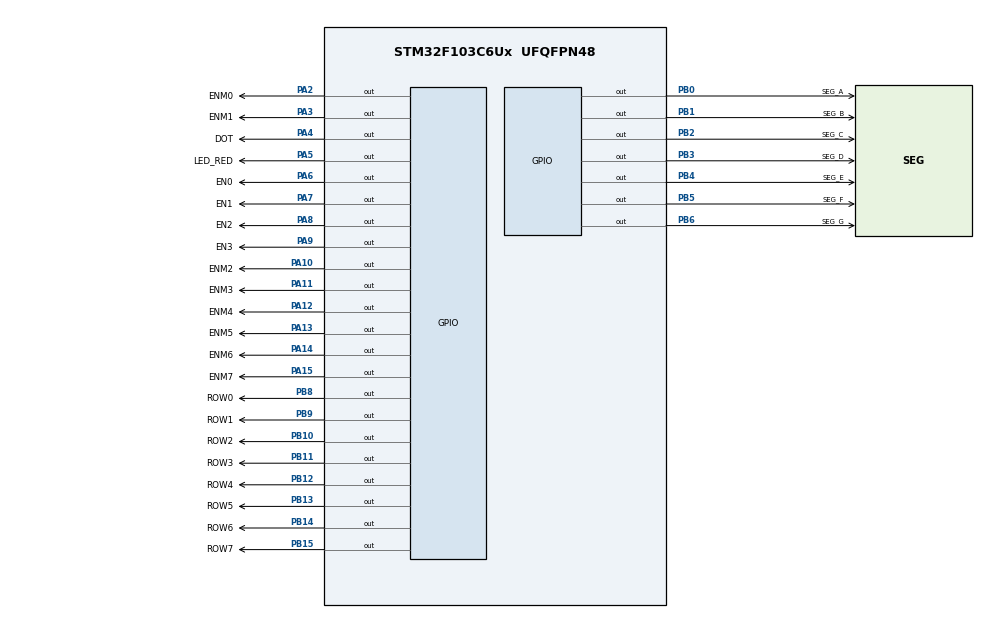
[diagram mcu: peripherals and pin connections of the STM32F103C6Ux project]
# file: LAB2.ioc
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Mcu.Family=STM32F1
Mcu.Name=STM32F103C6Ux
Mcu.Package=UFQFPN48
NVIC.PriorityGroup=NVIC_PRIORITYGROUP_4
NVIC.TIM2_IRQn=true\:0\:0\:false\:false\:true\:true\:true
PA10.GPIO_Label=ENM2
PA10.Signal=GPIO_Output
PA11.GPIO_Label=ENM3
PA11.Signal=GPIO_Output
PA12.GPIO_Label=ENM4
PA12.Signal=GPIO_Output
PA13.GPIO_Label=ENM5
PA13.Signal=GPIO_Output
PA14.GPIO_Label=ENM6
PA14.Signal=GPIO_Output
PA15.GPIO_Label=ENM7
PA15.Signal=GPIO_Output
PA2.GPIO_Label=ENM0
PA2.Signal=GPIO_Output
PA3.GPIO_Label=ENM1
PA3.Signal=GPIO_Output
PA4.GPIO_Label=DOT
PA4.Signal=GPIO_Output
PA5.GPIO_Label=LED_RED
PA5.Signal=GPIO_Output
PA6.GPIO_Label=EN0
PA6.Signal=GPIO_Output
PA7.GPIO_Label=EN1
PA7.Signal=GPIO_Output
PA8.GPIO_Label=EN2
PA8.Signal=GPIO_Output
PA9.GPIO_Label=EN3
PA9.Signal=GPIO_Output
PB0.GPIO_Label=SEG_A
PB0.Signal=GPIO_Output
PB1.GPIO_Label=SEG_B
PB1.Signal=GPIO_Output
PB10.GPIO_Label=ROW2
PB10.Signal=GPIO_Output
PB11.GPIO_Label=ROW3
PB11.Signal=GPIO_Output
PB12.GPIO_Label=ROW4
PB12.Signal=GPIO_Output
PB13.GPIO_Label=ROW5
PB13.Signal=GPIO_Output
PB14.GPIO_Label=ROW6
PB14.Signal=GPIO_Output
PB15.GPIO_Label=ROW7
PB15.Signal=GPIO_Output
PB2.GPIO_Label=SEG_C
PB2.Signal=GPIO_Output
PB3.GPIO_Label=SEG_D
PB3.Signal=GPIO_Output
PB4.GPIO_Label=SEG_E
PB4.Signal=GPIO_Output
PB5.GPIO_Label=SEG_F
PB5.Signal=GPIO_Output
PB6.GPIO_Label=SEG_G
PB6.Signal=GPIO_Output
PB8.GPIO_Label=ROW0
PB8.Signal=GPIO_Output
PB9.GPIO_Label=ROW1
PB9.Signal=GPIO_Output
ProjectManager.HeapSize=0x200
ProjectManager.StackSize=0x400
ProjectManager.TargetToolchain=STM32CubeIDE
RCC.APB1Freq_Value=8000000
RCC.APB2Freq_Value=8000000
TIM2.Period=9
TIM2.Prescaler=7999
VP_SYS_VS_ND.Mode=No_Debug
VP_TIM2_VS_ClockSourceINT.Mode=Internal
board=custom

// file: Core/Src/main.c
/* USER CODE BEGIN Header */
/**
  ******************************************************************************
  * @file           : main.c
  * @brief          : Main program body
  ******************************************************************************
  * @attention
  *
  * <h2><center>&copy; Copyright (c) 2023 STMicroelectronics.
  * All rights reserved.</center></h2>
  *
  * This software component is licensed by ST under BSD 3-Clause license,
  * the "License"; You may not use this file except in compliance with the
  * License. You may obtain a copy of the License at:
  *                        opensource.org/licenses/BSD-3-Clause
  *
  ******************************************************************************
  */
/* USER CODE END Header */
#include "main.h"

/* USER CODE BEGIN Includes */
#include "software_timer.h"
#include <stdlib.h>
/* USER CODE END Includes */

TIM_HandleTypeDef htim2;

void SystemClock_Config(void);
static void MX_GPIO_Init(void);
static void MX_TIM2_Init(void);
/* USER CODE BEGIN PFP */

uint8_t matrix_buffer[8] = {0x18,0x24,0x42,0x42,0x7E,0x42,0x42,0x42};
uint8_t stored_buffer[8] = {0x18,0x24,0x42,0x42,0x7E,0x42,0x42,0x42};
const int MAX_LED_MATRIX = 8;

const int MAX_LED = 4;
int index_led = 0;
int led_buffer[4] = {0, 0, 0, 0};
void update_clock_buffer(int hour, int minute);
void init_clock();
void display7SEG(int number);
void update_display(int* display_flag);
void reset_all_row();
void display_row(uint8_t data);
void updateLEDMatrix(int* index, uint8_t* matrix_buffer);
void update_LED_buffer(uint8_t data[MAX_LED_MATRIX]);
void reset_buffer();

/* USER CODE END PFP */

int main(void)
{

  /* MCU Configuration--------------------------------------------------------*/

  /* Reset of all peripherals, Initializes the Flash interface and the Systick. */
  HAL_Init();

  /* Configure the system clock */
  SystemClock_Config();

  /* Initialize all configured peripherals */
  MX_GPIO_Init();
  MX_TIM2_Init();
  /* USER CODE BEGIN 2 */
  HAL_TIM_Base_Start_IT (& htim2 );
  set_Timer1(50);//counter for 7-segment LED
  set_Timer2(100);//counter for 2 LEDs
  set_Timer3(450);//counter for shilf led
  int display_flag = 0;//indicate for the first 7LED (number 1)
  int matrix_flag = 0;
  int shift_cycle_flag = 0;
  int hour = 23, minute = 59, second = 50;
    led_buffer[0] = hour/10;
    led_buffer[1] = hour%10;
    led_buffer[2] = minute/10;
    led_buffer[3] = minute%10;
    init_clock();

  /* USER CODE END 2 */

  /* Infinite loop */
  while (1)
  {

    /* USER CODE BEGIN 3 */
	  //HAL_GPIO_WritePin(GPIOA, ENM1_Pin, GPIO_PIN_RESET);
	  //HAL_GPIO_WritePin(GPIOB, ROW0_Pin|ROW1_Pin, GPIO_PIN_RESET);
	  if(timer_flag1 == 1){
		  set_Timer1(50);
	 	  update_display(&display_flag);
	 	  updateLEDMatrix(&matrix_flag, matrix_buffer);
	  }
	  if(timer_flag2 == 1){
	 	  set_Timer2(100);
	 	  HAL_GPIO_TogglePin(GPIOA, DOT_Pin);
	 	  HAL_GPIO_TogglePin(GPIOA, LED_RED_Pin);
	 	 second++;
	 	 		  if(second>=60){
	 	 			  second = 0;
	 	 			  minute++;
	 	 		  }
	 	 		  if(minute>=60){
	 	 			  minute = 0;
	 	 			  hour++;
	 	 		  }
	 	 		  if(hour>=24){
	 	 			  hour = 0;
	 	 		  }
	 	 		  update_clock_buffer(hour, minute);
	   }
	  if(timer_flag3 == 1){
		  set_Timer3(450);
		  shift_cycle_flag++;
		  update_LED_buffer(matrix_buffer);
		  if(shift_cycle_flag >= 8){
			  shift_cycle_flag = 0;
			  reset_buffer();
		  }
	  }
  }
  /* USER CODE END 3 */
}

void SystemClock_Config(void)
{
  RCC_OscInitTypeDef RCC_OscInitStruct = {0};
  RCC_ClkInitTypeDef RCC_ClkInitStruct = {0};

  /** Initializes the RCC Oscillators according to the specified parameters
  * in the RCC_OscInitTypeDef structure.
  */
  RCC_OscInitStruct.OscillatorType = RCC_OSCILLATORTYPE_HSI;
  RCC_OscInitStruct.HSIState = RCC_HSI_ON;
  RCC_OscInitStruct.HSICalibrationValue = RCC_HSICALIBRATION_DEFAULT;
  RCC_OscInitStruct.PLL.PLLState = RCC_PLL_NONE;
  if (HAL_RCC_OscConfig(&RCC_OscInitStruct) != HAL_OK)
  {
    Error_Handler();
  }
  /** Initializes the CPU, AHB and APB buses clocks
  */
  RCC_ClkInitStruct.ClockType = RCC_CLOCKTYPE_HCLK|RCC_CLOCKTYPE_SYSCLK
                              |RCC_CLOCKTYPE_PCLK1|RCC_CLOCKTYPE_PCLK2;
  RCC_ClkInitStruct.SYSCLKSource = RCC_SYSCLKSOURCE_HSI;
  RCC_ClkInitStruct.AHBCLKDivider = RCC_SYSCLK_DIV1;
  RCC_ClkInitStruct.APB1CLKDivider = RCC_HCLK_DIV1;
  RCC_ClkInitStruct.APB2CLKDivider = RCC_HCLK_DIV1;

  if (HAL_RCC_ClockConfig(&RCC_ClkInitStruct, FLASH_LATENCY_0) != HAL_OK)
  {
    Error_Handler();
  }
}

static void MX_TIM2_Init(void)
{

  TIM_ClockConfigTypeDef sClockSourceConfig = {0};
  TIM_MasterConfigTypeDef sMasterConfig = {0};

  htim2.Instance = TIM2;
  htim2.Init.Prescaler = 7999;
  htim2.Init.CounterMode = TIM_COUNTERMODE_UP;
  htim2.Init.Period = 9;
  htim2.Init.ClockDivision = TIM_CLOCKDIVISION_DIV1;
  htim2.Init.AutoReloadPreload = TIM_AUTORELOAD_PRELOAD_DISABLE;
  if (HAL_TIM_Base_Init(&htim2) != HAL_OK)
  {
    Error_Handler();
  }
  sClockSourceConfig.ClockSource = TIM_CLOCKSOURCE_INTERNAL;
  if (HAL_TIM_ConfigClockSource(&htim2, &sClockSourceConfig) != HAL_OK)
  {
    Error_Handler();
  }
  sMasterConfig.MasterOutputTrigger = TIM_TRGO_RESET;
  sMasterConfig.MasterSlaveMode = TIM_MASTERSLAVEMODE_DISABLE;
  if (HAL_TIMEx_MasterConfigSynchronization(&htim2, &sMasterConfig) != HAL_OK)
  {
    Error_Handler();
  }

}

static void MX_GPIO_Init(void)
{
  GPIO_InitTypeDef GPIO_InitStruct = {0};

  /* GPIO Ports Clock Enable */
  __HAL_RCC_GPIOA_CLK_ENABLE();
  __HAL_RCC_GPIOB_CLK_ENABLE();

  /*Configure GPIO pin Output Level */
  HAL_GPIO_WritePin(GPIOA, ENM0_Pin|ENM1_Pin|DOT_Pin|LED_RED_Pin
                          |EN0_Pin|EN1_Pin|EN2_Pin|EN3_Pin
                          |ENM2_Pin|ENM3_Pin|ENM4_Pin|ENM5_Pin
                          |ENM6_Pin|ENM7_Pin, GPIO_PIN_SET);

  /*Configure GPIO pin Output Level */
  HAL_GPIO_WritePin(GPIOB, SEG_A_Pin|SEG_B_Pin|SEG_C_Pin|ROW2_Pin
                          |ROW3_Pin|ROW4_Pin|ROW5_Pin|ROW6_Pin
                          |ROW7_Pin|SEG_D_Pin|SEG_E_Pin|SEG_F_Pin
                          |SEG_G_Pin|ROW0_Pin|ROW1_Pin, GPIO_PIN_SET);

  /*Configure GPIO pins : ENM0_Pin ENM1_Pin DOT_Pin LED_RED_Pin
                           EN0_Pin EN1_Pin EN2_Pin EN3_Pin
                           ENM2_Pin ENM3_Pin ENM4_Pin ENM5_Pin
                           ENM6_Pin ENM7_Pin */
  GPIO_InitStruct.Pin = ENM0_Pin|ENM1_Pin|DOT_Pin|LED_RED_Pin
                          |EN0_Pin|EN1_Pin|EN2_Pin|EN3_Pin
                          |ENM2_Pin|ENM3_Pin|ENM4_Pin|ENM5_Pin
                          |ENM6_Pin|ENM7_Pin;
  GPIO_InitStruct.Mode = GPIO_MODE_OUTPUT_PP;
  GPIO_InitStruct.Pull = GPIO_NOPULL;
  GPIO_InitStruct.Speed = GPIO_SPEED_FREQ_LOW;
  HAL_GPIO_Init(GPIOA, &GPIO_InitStruct);

  /*Configure GPIO pins : SEG_A_Pin SEG_B_Pin SEG_C_Pin ROW2_Pin
                           ROW3_Pin ROW4_Pin ROW5_Pin ROW6_Pin
                           ROW7_Pin SEG_D_Pin SEG_E_Pin SEG_F_Pin
                           SEG_G_Pin ROW0_Pin ROW1_Pin */
  GPIO_InitStruct.Pin = SEG_A_Pin|SEG_B_Pin|SEG_C_Pin|ROW2_Pin
                          |ROW3_Pin|ROW4_Pin|ROW5_Pin|ROW6_Pin
                          |ROW7_Pin|SEG_D_Pin|SEG_E_Pin|SEG_F_Pin
                          |SEG_G_Pin|ROW0_Pin|ROW1_Pin;
  GPIO_InitStruct.Mode = GPIO_MODE_OUTPUT_PP;
  GPIO_InitStruct.Pull = GPIO_NOPULL;
  GPIO_InitStruct.Speed = GPIO_SPEED_FREQ_LOW;
  HAL_GPIO_Init(GPIOB, &GPIO_InitStruct);

}

/* USER CODE BEGIN 4 */
void HAL_TIM_PeriodElapsedCallback(TIM_HandleTypeDef *htim){
	timerRun();
}

void display7SEG(int number){
	int a[10][7] = {
		{0, 0, 0, 0, 0, 0, 1}, 	//0
		{1, 0, 0, 1, 1, 1, 1},  //1
		{0, 0, 1, 0, 0, 1, 0},  //2
		{0, 0, 0, 0, 1, 1, 0},  //3
		{1, 0, 0, 1, 1, 0, 0},	//4
		{0, 1, 0, 0, 1, 0, 0},  //5
		{0, 1, 0, 0, 0, 0, 0}, 	//6
		{0, 0, 0, 1, 1, 1, 1},	//7
		{0, 0, 0, 0, 0, 0, 0}, 	//8
		{0, 0, 0, 0, 1, 0, 0}   //9
	};
	HAL_GPIO_WritePin(GPIOB, SEG_A_Pin, a[number][0]);
	HAL_GPIO_WritePin(GPIOB, SEG_B_Pin, a[number][1]);
	HAL_GPIO_WritePin(GPIOB, SEG_C_Pin, a[number][2]);
	HAL_GPIO_WritePin(GPIOB, SEG_D_Pin, a[number][3]);
	HAL_GPIO_WritePin(GPIOB, SEG_E_Pin, a[number][4]);
	HAL_GPIO_WritePin(GPIOB, SEG_F_Pin, a[number][5]);
	HAL_GPIO_WritePin(GPIOB, SEG_G_Pin, a[number][6]);

}

void update_display(int* display_flag){
	switch (*display_flag){
		case 0:{
			(*display_flag)++;
			HAL_GPIO_WritePin(GPIOA, EN0_Pin, GPIO_PIN_SET);
			HAL_GPIO_WritePin(GPIOA, EN1_Pin, GPIO_PIN_RESET);
			HAL_GPIO_WritePin(GPIOA, EN2_Pin, GPIO_PIN_SET);
			HAL_GPIO_WritePin(GPIOA, EN3_Pin, GPIO_PIN_SET);
			display7SEG(led_buffer[1]);
			break;
		}
		case 1:{
			(*display_flag)++;
			HAL_GPIO_WritePin(GPIOA, EN0_Pin, GPIO_PIN_SET);
			HAL_GPIO_WritePin(GPIOA, EN1_Pin, GPIO_PIN_SET);
			HAL_GPIO_WritePin(GPIOA, EN2_Pin, GPIO_PIN_RESET);
			HAL_GPIO_WritePin(GPIOA, EN3_Pin, GPIO_PIN_SET);
			display7SEG(led_buffer[2]);
			break;
		}
		case 2:{
			(*display_flag)++;
			HAL_GPIO_WritePin(GPIOA, EN0_Pin, GPIO_PIN_SET);
			HAL_GPIO_WritePin(GPIOA, EN1_Pin, GPIO_PIN_SET);
			HAL_GPIO_WritePin(GPIOA, EN2_Pin, GPIO_PIN_SET);
			HAL_GPIO_WritePin(GPIOA, EN3_Pin, GPIO_PIN_RESET);
			display7SEG(led_buffer[3]);
			break;
		}
		case 3:{
			(*display_flag) = 0;
			HAL_GPIO_WritePin(GPIOA, EN0_Pin, GPIO_PIN_RESET);
			HAL_GPIO_WritePin(GPIOA, EN1_Pin, GPIO_PIN_SET);
			HAL_GPIO_WritePin(GPIOA, EN2_Pin, GPIO_PIN_SET);
			HAL_GPIO_WritePin(GPIOA, EN3_Pin, GPIO_PIN_SET);
			display7SEG(led_buffer[0]);
			break;
		}
		default:{
			break;
		}
	}
}

uint16_t col_trigger[] = {ENM0_Pin, ENM1_Pin, ENM2_Pin, ENM3_Pin, ENM4_Pin, ENM5_Pin, ENM6_Pin, ENM7_Pin};
uint16_t row_trigger[] = {ROW0_Pin, ROW1_Pin, ROW2_Pin, ROW3_Pin, ROW4_Pin, ROW5_Pin, ROW6_Pin, ROW7_Pin};

int index_led_matrix = 0;

void updateLEDMatrix(int* matrix_flag, uint8_t* matrix_buffer){
    switch (*matrix_flag){
        case 0:{
        	(*matrix_flag)++;
        	reset_all_row();
        	HAL_GPIO_WritePin(GPIOB, ROW0_Pin, 0);
        	display_row(matrix_buffer[0]);
        	break;
        }
        case 1:{
        	(*matrix_flag)++;
        	reset_all_row();
        	HAL_GPIO_WritePin(GPIOB, ROW1_Pin, 0);
        	display_row(matrix_buffer[1]);
        	break;
        }
        case 2:{
        	(*matrix_flag)++;
        	reset_all_row();
        	HAL_GPIO_WritePin(GPIOB, ROW2_Pin, 0);
        	display_row(matrix_buffer[2]);
        	break;
        }
        case 3:{
        	(*matrix_flag)++;
        	reset_all_row();
        	HAL_GPIO_WritePin(GPIOB, ROW3_Pin, 0);
        	display_row(matrix_buffer[3]);
        	break;
        }
        case 4:{
        	(*matrix_flag)++;
        	reset_all_row();
        	HAL_GPIO_WritePin(GPIOB, ROW4_Pin, 0);
        	display_row(matrix_buffer[4]);
        	break;
        }
        case 5:{
        	(*matrix_flag)++;
        	reset_all_row();
        	HAL_GPIO_WritePin(GPIOB, ROW5_Pin, 0);
        	display_row(matrix_buffer[5]);
        	break;
        }
        case 6:{
        	(*matrix_flag)++;
        	reset_all_row();
        	HAL_GPIO_WritePin(GPIOB, ROW6_Pin, 0);
        	display_row(matrix_buffer[6]);
        	break;
        }
        case 7:{
        	(*matrix_flag) = 0;
        	reset_all_row();
        	HAL_GPIO_WritePin(GPIOB, ROW7_Pin, 0);
        	display_row(matrix_buffer[7]);
        	break;
        }
        default:
            break;
    }
}

void display_row(uint8_t data){
	for(int i = 0; i<MAX_LED_MATRIX; i++){
		HAL_GPIO_WritePin(GPIOA, col_trigger[i], !(data&0x80));
		data = data<<1;
	}
}

void set_row(){
	HAL_GPIO_WritePin(GPIOB, row_trigger[0], GPIO_PIN_RESET);
	for(int i = 0; i<MAX_LED_MATRIX; i++){
			HAL_GPIO_WritePin(GPIOA, col_trigger[i], GPIO_PIN_SET);
	}

}
void reset_all_row(){
	for(int i = 0; i<MAX_LED_MATRIX; i++){
		HAL_GPIO_WritePin(GPIOB, row_trigger[i], GPIO_PIN_SET);
	}
}

void update_LED_buffer(uint8_t data[MAX_LED_MATRIX]){
	for(int i = 0; i<MAX_LED_MATRIX; i++){
		data[i] = data[i]<<1;
	}
}

void reset_buffer(){
	for(int i = 0; i<MAX_LED_MATRIX; i++){
		matrix_buffer[i] = stored_buffer[i];
	}
}

void init_clock(){
	HAL_GPIO_WritePin(GPIOA, EN0_Pin, GPIO_PIN_RESET);
	HAL_GPIO_WritePin(GPIOA, EN1_Pin, GPIO_PIN_SET);
	HAL_GPIO_WritePin(GPIOA, EN2_Pin, GPIO_PIN_SET);
	HAL_GPIO_WritePin(GPIOA, EN3_Pin, GPIO_PIN_SET);
	display7SEG(led_buffer[0]);
}
void update_clock_buffer(int hour, int minute){
	led_buffer[0] = hour/10;
	led_buffer[1] = hour%10;
	led_buffer[2] = minute/10;
	led_buffer[3] = minute%10;
	if(led_buffer[3]>=10){
		led_buffer[3] = 0;
		led_buffer[2]++;
	}
	if(led_buffer[2]>=6){
		led_buffer[1]++;
		led_buffer[2] =0;
	}
	if(led_buffer[1]>=10){
		led_buffer[0]++;
		led_buffer[1] =0;
	}
	if(led_buffer[0] == 2 && led_buffer[1] == 4){
		led_buffer[0] = 0;
		led_buffer[1] = 0;
	}
}
/* USER CODE END 4 */

void Error_Handler(void)
{
  __disable_irq();
  while (1)
  {
  }
}

/************************ (C) COPYRIGHT STMicroelectronics *****END OF FILE****/
